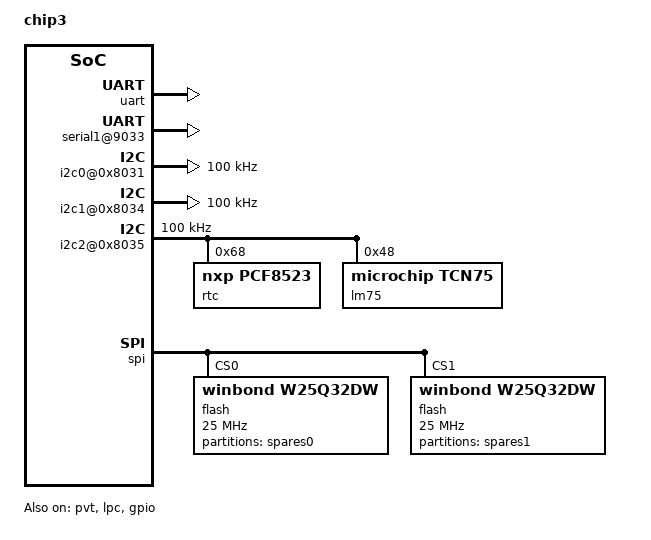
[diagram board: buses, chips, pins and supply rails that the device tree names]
// SPDX-License-Identifier: GPL-2.0
/*
 * Default device tree;
 */

/dts-v1/;
/ {
	compatible = "sunway,chip3";
	model = "chip3";
	#address-cells = <2>;
	#size-cells = <2>;

	chosen {
	};

	soc {
		compatible = "simple-bus";
		#address-cells = <2>;
		#size-cells = <2>;
		ranges;

		clocks {
			i2cclk: i2cclk {
			compatible = "fixed-clock";
			clock-frequency = <25000000>;
			#clock-cells = <0>;
			clock-output-names = "i2cclk_25mhz";
			};
			spiclk: spiclk {
			compatible = "fixed-clock";
			clock-frequency = <25000000>;
			#clock-cells = <0>;
			clock-output-names = "spiclk_25mhz";
			};

		};

		pintc: interrupt-controller {
			compatible = "sw64,pintc", "sw64,sw6_irq_controller";
			interrupt-controller;
			sw64,node = <0>;
			sw64,irq-num = <8>;
			sw64,ver = <1>;
			reg = <0x802a 0x0 0x0 0x1680>,
			      <0x8030 0x0 0x0 0x8f00>;
			#interrupt-cells = <1>;
		};

		lpc_intc: interrupt-controller@0x8037 {
			compatible = "sw64,lpc_intc";
			reg = <0x8037 0x40000000 0x0 0x8000>;
			interrupt-controller;
			sw64,node = <0>;
			sw64,irq-num = <16>;
			sw64,ver = <1>;
			#interrupt-cells = <1>;
			interrupt-parent = <&pintc>;
			interrupts = <2>;
		};

		uart: serial0@8033 {
			#address-cells = <2>;
			#size-cells = <2>;
			compatible = "sw6,sunway-apb-uart";
			reg = <0x8033 0x0 0x0 0x1000>;
			interrupt-parent=<&pintc>;
			interrupts = <3>;
			reg-shift = <9>;
			reg-io-width = <4>;
			clock-frequency = <24000000>;
			status = "okay";
		};

		serial1@9033 {
			#address-cells = <2>;
			#size-cells = <2>;
			compatible = "sw6,sunway-apb-uart";
			reg = <0x9033 0x0 0x0 0x1000>;
			reg-shift = <9>;
			reg-io-width = <4>;
			clock-frequency = <24000000>;
			status = "okay";
		};


		i2c0@0x8031 {
			#address-cells = <2>;
			#size-cells = <2>;
			compatible = "sunway,suntai-i2c", "snps,designware-i2c";
			reg = <0x8031 0x0 0x0 0x8000>;
			clock-frequency = <100000>;
			clocks = <&i2cclk>;
			interrupt-parent = <&pintc>;
			interrupts = <5>;
			status = "okay";
		};

		i2c1@0x8034 {
			#address-cells = <1>;
			#size-cells = <0>;
			compatible = "sunway,suntai-i2c", "snps,designware-i2c";
			reg = <0x8034 0x0 0x0 0x8000>;
			clock-frequency = <100000>;
			clocks = <&i2cclk>;
			interrupt-parent = <&pintc>;
			interrupts = <6>;
			status = "okay";
		};

		i2c2@0x8035 {
			#address-cells = <1>;
			#size-cells = <0>;
			compatible = "sunway,suntai-i2c", "snps,designware-i2c";
			reg = <0x8035 0x0 0x0 0x8000>;
			clock-frequency = <100000>;
			clocks = <&i2cclk>;
			interrupt-parent = <&pintc>;
			interrupts = <7>;
			status = "okay";

			rtc: pcf8523@68 {
				compatible = "nxp,pcf8523";
				reg = <0x68>;
			};

			lm75: at30tse752a@48 {
				compatible = "microchip,tcn75";
				reg = <0x48>;
			};
		};

		pvt: pvt@0x8030 {
			#address-cells = <2>;
			#size-cells = <2>;
			compatible = "sw64,pvt-vol";
			reg = <0x8030 0x0 0x0 0x7c00>;
			status = "okay";
			};

		spi: spi@0x8032 {
			#address-cells = <1>;
			#size-cells = <0>;
			compatible = "sunway,chip-spi";
			reg = <0x8032 0x0 0x0 0x8000>;
			clocks = <&spiclk>;
			poll_mode = <1>;    /* poll_mode:1  interrupt mode: 0 */
			reg-io-width = <2>;
			status = "okay";

			flash@0 {
				compatible = "winbond,w25q32dw", "jedec,spi-nor";
				spi-max-frequency = <25000000>;
				m25p,fast-read;
				reg = <0>; /* 0: flash chip selected bit */

				partitions {
					compatible = "fixed-partitions";
					#address-cells = <1>;
					#size-cells = <1>;

					partition@0 {
						label = "spares0";
						reg = <0 0x400000>;
					};
				};
			};

			flash@1 {
				compatible = "winbond,w25q32dw", "jedec,spi-nor";
				spi-max-frequency = <25000000>;
				m25p,fast-read;
				reg = <1>; /* 1: flash chip selected bit */

				partitions {
					compatible = "fixed-partitions";
					#address-cells = <1>;
					#size-cells = <1>;

					partition@0 {
						label = "spares1";
						reg = <0 0x400000>;
					};
				};
			};
		};

		lpc: lpc@0x8037 {
			#address-cells = <2>;
			#size-cells = <2>;
			compatible = "sunway,chip3_lpc";
			reg = <0x8037 0x40000000 0x0 0x8000>;
			status = "okay";

		};

		ipmi-kcs@0x8037 {
			#address-cells = <2>;
			#size-cells = <2>;
			device_type = "ipmi";
			compatible = "ipmi-kcs";
			reg = <0x8037 0x10000ca2 0x0 0x10>;
			reg-size = <1>;
			reg-spacing = <1>;
			reg-shift = <0>;
			status = "disabled";
		};

		ipmi-bt@0x8037 {
			#address-cells = <2>;
			#size-cells = <2>;
			device_type = "ipmi";
			compatible = "ipmi-bt";
			reg = <0x8037 0x100000e4 0x0 0x10>;
			interrupt-parent=<&lpc_intc>;
			interrupts = <10>;
			reg-size = <1>;
			reg-spacing = <1>;
			reg-shift = <0>;
			status = "disabled";
		};

		gpio: gpio@8036 {
			#address-cells = <2>;
			#size-cells = <2>;
			compatible = "snps,sw-gpio";
			reg = <0x8036 0x0 0x0 0x8000>;
			status = "okay";

			porta: gpio-contraller@0 {
				compatible = "snps,dw-apb-gpio-port";
				gpio-controller;
				#gpio-cells = <2>;
				snps,nr-gpios = <8>;
				reg = <0 0 0 0>;
				interrupt-controller;
				#interrupt-cells = <2>;
				interrupts-extended = <&pintc 0>, <&pintc 1>;
			};
		};

	};
};
